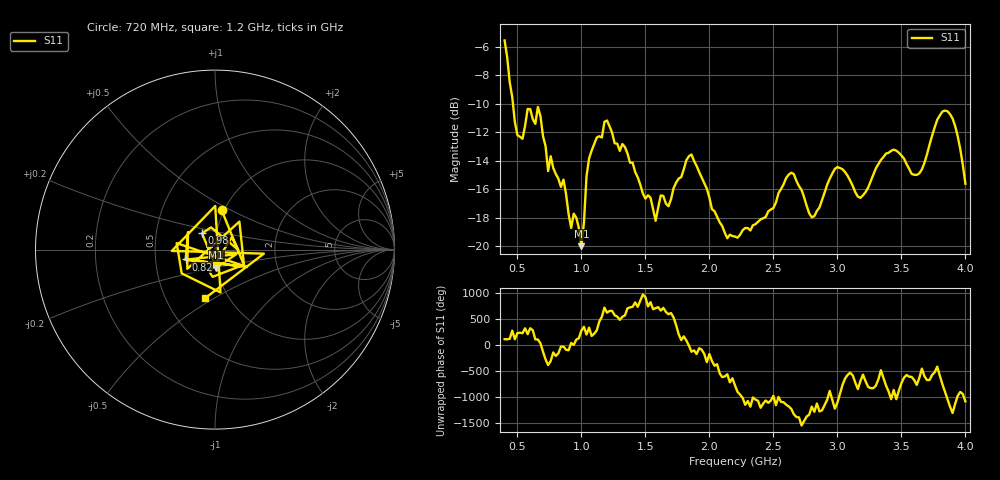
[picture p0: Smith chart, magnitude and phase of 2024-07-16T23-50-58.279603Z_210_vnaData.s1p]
!Created with skrf (http://scikit-rf.org).
# Hz S RI R 50.0
!freq ReS11 ImS11
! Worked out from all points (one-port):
!   181 points, 400 MHz to 4 GHz, reference 50 ohm
!   lowest |S11| = -20.0 dB at 1 GHz (marker M1), VSWR 1.22, Z = 49.6 - j10 ohm
!   |S11| at or under -10 dB: 465.2 MHz to end of sweep
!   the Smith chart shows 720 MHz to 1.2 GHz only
!   S11 on the Smith chart (normalised r, x): 720 MHz: 0.97, +0.45; 820 MHz: 0.71, -0.08; 980 MHz: 0.85, +0.16; 1.2 GHz: 0.78, -0.46
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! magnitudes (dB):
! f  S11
! 400 MHz  -5.6
! 500 MHz  -12.2
! 660 MHz  -10.2
! 720 MHz  -13.0
! 740 MHz  -14.7
! 760 MHz  -13.7
! 820 MHz  -15.3
! 860 MHz  -15.3
! 920 MHz  -18.7
! 980 MHz  -18.7
! 1 GHz  -20.0
! 1.06 GHz  -13.8
! 1.2 GHz  -11.2
! 1.3 GHz  -13.3
! 1.58 GHz  -18.2
! 1.76 GHz  -15.3
! 1.86 GHz  -13.6
! 2.2 GHz  -19.3
! 2.66 GHz  -14.9
! 2.8 GHz  -18.0
! 2.98 GHz  -14.6
! 3.1 GHz  -15.4
! 3.18 GHz  -16.6
! 3.44 GHz  -13.2
! 3.56 GHz  -14.6
! 3.64 GHz  -14.9
! 3.86 GHz  -10.5
! 4 GHz  -15.6
